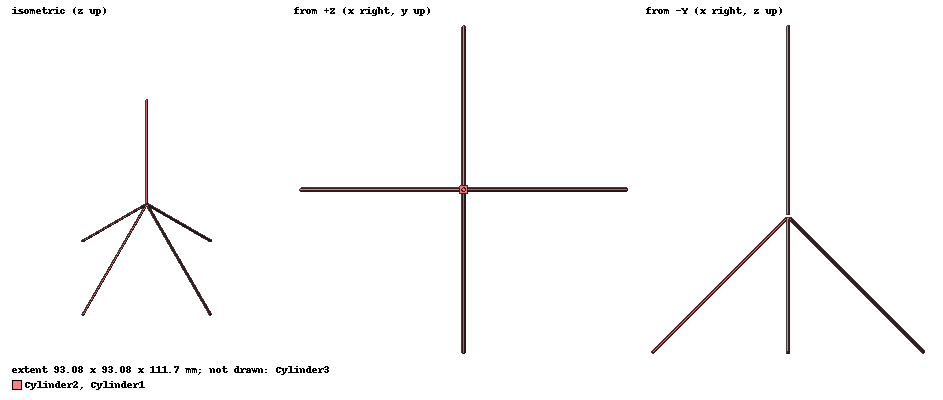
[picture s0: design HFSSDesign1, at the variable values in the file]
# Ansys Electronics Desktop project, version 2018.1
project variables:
  $lambda = (300/1090) meter
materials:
  vacuum: permittivity=1
  copper: permeability=0.999991 conductivity=58000000
  air: permittivity=1.0006 permeability=1.0000004

design HFSSDesign1 (HFSS, DrivenModal, model units mm)
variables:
  I = -30mm  # optimise -10mm..10mm
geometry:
  Cylinder1 [copper] = cylinder(axis=Z, base_centre=(0mm, 0mm, 1mm), radius=0.5mm, height=$lambda/8 - I)
  Rectangle1 = rectangle(corner=(0mm, -0.5mm, 1mm), y_size=1mm, z_size=-1mm)
  Box1 = box(corner=(-1mm, -1mm, -0.2mm), size=(2mm, 2mm, 0.2mm))
  Cylinder2 [copper] = cylinder(axis=X, base_centre=(1mm, 0mm, 0mm), radius=0.5mm, height=$lambda/8 - I)
  Cylinder2.rotate(axis=Y, angle=45deg)
  Cylinder2.move(-0.060660172mm, 0mm, 0.35355339mm)
  Cylinder2_1, Cylinder2_2, Cylinder2_3 = Cylinder2.duplicate_around_axis(axis=Z, angle=90deg, total=4)
  Cylinder2.unite(Cylinder2_1, Cylinder2_2, Cylinder2_3, Box1)
  Cylinder3 [air] = cylinder(axis=Z, base_centre=(0mm, 0mm, -150mm), radius=70mm, height=300mm)
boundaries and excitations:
  Rad1: Radiation Faces=Cylinder3.face(1 of 3)
  1: Lumped Port Objects=Rectangle1 Modes{Mode1{IntLine{middle of Rectangle1.edge(z opposite corner) -> middle of Rectangle1.edge(z at corner)} CharImp=Zpi RenormImp=50ohm}} Impedance=50ohm
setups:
  Setup1: HfssDriven Frequency=1090MHz MaxDeltaS=0.02 MaximumPasses=6 MinimumPasses=1 MinimumConvergedPasses=1 PercentRefinement=30 BasisOrder=1 PortAccuracy=2
    sweep Sweep: 900MHz to 1.5GHz, 451 points; Type=Interpolating InterpTolerance=0.5 InterpMaxSolns=250 InterpUsePortImped=false PassivityErrorTolerance=0.0001
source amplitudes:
  1:1: 1W 0deg
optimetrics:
  ParametricSetup1: Parametric Sim._Setups=[Setup1]
    sweep I: LIN -10mm 10mm 1mm
  OptimizationSetup1: Optimization Optimizer=SNLP AnalysisStopOptions{StopForNumIteration MaxNumIteration=1000 MinNumIteration=10} CostFuncNormType=L2 Acceptable_Cost=0 Noise=0.0001 UpdateDesignWhenDone
    goal dB(S(1,1)) <= -20 weight 1 on Setup1 : Sweep at Freq 1.09066666666667GHz
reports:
  S Parameter Plot 1: dB(S(1,1)) vs Freq on Setup1 : Sweep [I=-20mm]
